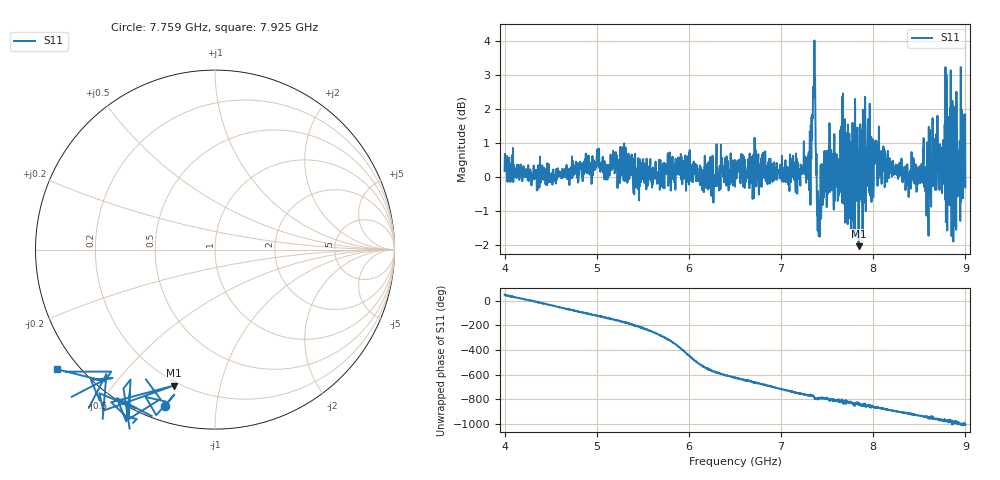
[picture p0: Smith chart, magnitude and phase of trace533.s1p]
! Created with skrf 1.8.0 (http://scikit-rf.org).
# Hz S RI R 50.0
!freq ReS11 ImS11
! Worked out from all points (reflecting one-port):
!   1601 points, 4 GHz to 9 GHz, reference 50 ohm
!   lowest |S11| = -2.0 dB at 7.841 GHz (marker M1), VSWR 8.62, Z = 8.92 - j36.3 ohm
!   phase of S11 starts at 50 deg and turns -1057 deg over the sweep
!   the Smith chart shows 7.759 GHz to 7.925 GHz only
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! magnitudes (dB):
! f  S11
! 4 GHz  0.2
! 4.625 GHz  0.0
! 5.25 GHz  -0.2
! 5.875 GHz  0.4
! 6.5 GHz  -0.3
! 7.125 GHz  0.2
! 7.294 GHz  0.0
! 7.347 GHz  2.4
! 7.369 GHz  3.0
! 7.4 GHz  -0.4
! 7.412 GHz  -1.1
! 7.538 GHz  0.6
! 7.609 GHz  -0.2
! 7.669 GHz  1.0
! 7.75 GHz  -1.2
! 7.769 GHz  -0.8
! 7.841 GHz  -2.0
! 7.928 GHz  0.9
! 7.981 GHz  -0.7
! 8.038 GHz  0.8
! 8.375 GHz  0.0
! 8.522 GHz  0.1
! 8.575 GHz  0.1
! 8.766 GHz  0.9
! 8.819 GHz  1.4
! 8.875 GHz  0.4
! 8.972 GHz  0.7
! 9 GHz  -0.3
